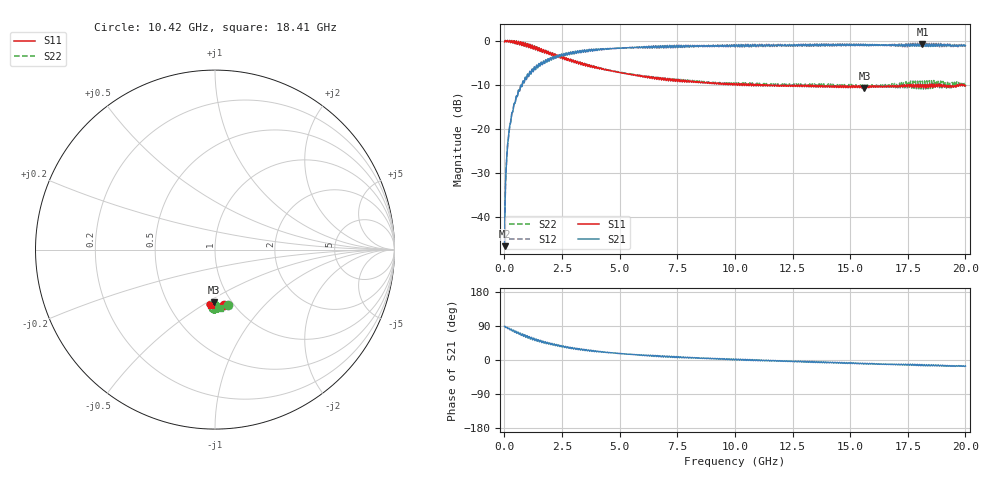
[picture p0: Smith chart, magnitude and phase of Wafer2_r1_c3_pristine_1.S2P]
!  2-Port S-parameters saved by WinCal
! VAR MeasName=S-Parameters (CALIBRATED_DATA) read from VNA (P5004A)
! VAR MeasDate=26/04/2024 17:43:40
! VAR NAME=Wafer2_r1_c3_pristine
! VAR FILENAME=Wafer2_r1_c3_pristine_1.S2P
! VAR DATE=26/04/2024 17:43:40
! VAR PHYS_PORTS=1,2
! VAR ObjTypeName=DATASET
! VAR IndexType=Frequency
# Hz S MA R 50
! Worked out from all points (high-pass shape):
!   1999 points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, 10.01 MHz to 20 GHz, reference 50 ohm
!   highest |S21| = -0.69 dB at 18.14 GHz (marker M1); lowest = -46.5 dB at 10.01 MHz (marker M2)
!   |S21| within 3 dB of the highest: 2.164 GHz to 2.215 GHz (50.96 MHz wide, 2.33 % of centre); 2.25 GHz to end of sweep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
!   lowest |S11| = -10.6 dB at 15.62 GHz (marker M3), VSWR 1.83, Z = 41.4 - j26.6 ohm
!   |S11| at or under -10 dB: 11.78 GHz to 12.97 GHz (1.197 GHz wide, 9.68 % of centre); 12.98 GHz to 17.24 GHz (4.267 GHz wide, 28.2 % of centre); 19.06 GHz to 19.63 GHz (572.8 MHz wide, 2.96 % of centre)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
!   |S22| runs from -10.9 to 0.1 dB; largest |S21 - S12| = 0.036
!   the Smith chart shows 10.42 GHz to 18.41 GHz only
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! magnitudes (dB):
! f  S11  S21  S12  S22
! 10.01 MHz  -0.2  -46.5  -46.5  -0.2
! 50.03 MHz  0.1  -32.4  -32.5  0.1
! 120.1 MHz  0.1  -25.0  -25.0  0.0
! 160.1 MHz  -0.1  -22.7  -22.7  -0.1
! 210.1 MHz  0.0  -20.2  -20.2  0.0
! 280.1 MHz  -0.3  -18.1  -18.0  -0.3
! 380.2 MHz  -0.4  -15.6  -15.5  -0.4
! 500.3 MHz  -0.1  -13.0  -12.9  -0.1
! 660.3 MHz  -0.9  -11.3  -11.3  -0.8
! 850.4 MHz  -1.1  -9.5  -9.5  -1.1
! 1.051 GHz  -1.5  -8.0  -8.0  -1.5
! 1.551 GHz  -2.3  -5.7  -5.6  -2.3
! 2.331 GHz  -3.7  -3.7  -3.7  -3.7
! 3.342 GHz  -5.2  -2.5  -2.4  -5.2
! 4.802 GHz  -6.9  -1.6  -1.7  -6.8
! 6.673 GHz  -8.3  -1.1  -1.1  -8.4
! 10.01 GHz  -10.0  -1.2  -1.3  -9.9
! 13.35 GHz  -10.1  -0.9  -0.8  -9.7
! 15.62 GHz  -10.6  -1.0  -1.0  -10.3
! 16.68 GHz  -10.3  -1.0  -1.1  -10.4
! 18.14 GHz  -9.9  -0.7  -0.6  -9.3
! 20 GHz  -10.2  -1.0  -0.9  -9.8
